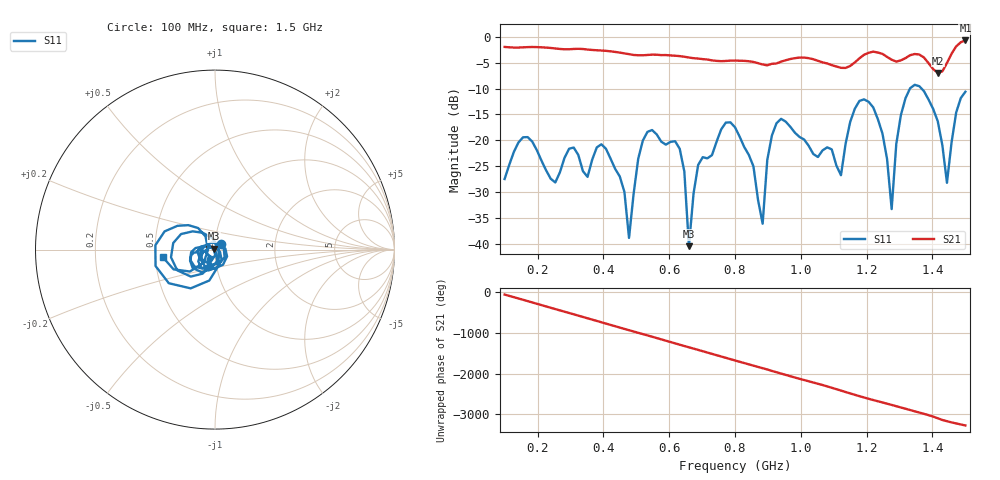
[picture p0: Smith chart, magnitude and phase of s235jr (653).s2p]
! NanoVNA-App
! Date: 2025-09-25 15:09:15
! Start: 100MHz Stop: 1,5GHz Points: 101
! S-Parameter data: F S11 S21 S12 S22
# Hz S RI R 50
!  Frequency  S11_Real  S11_Imag  S21_Real  S21_Imag  S12_Real  S12_Imag  S22_Real  S22_Imag
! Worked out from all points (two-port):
!   101 points, 100 MHz to 1.5 GHz, reference 50 ohm
!   highest |S21| = -0.71 dB at 1.5 GHz (marker M1); lowest = -7.0 dB at 1.416 GHz (marker M2)
!   |S21| within 3 dB of the highest: start of sweep to 628 MHz; 1.187 GHz to 1.258 GHz (70.53 MHz wide, 5.77 % of centre) (the widest 2 of 4)
!   lowest |S11| = -40.4 dB at 660 MHz (marker M3), VSWR 1.02, Z = 49.2 + j0.539 ohm
!   |S11| at or under -10 dB: start of sweep to 1.332 GHz; 1.367 GHz to end of sweep
!   S12 and S22 are empty: the file has one direction only
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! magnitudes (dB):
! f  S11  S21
! 100 MHz  -27.5  -2.0
! 156 MHz  -19.4  -2.0
! 338 MHz  -26.0  -2.4
! 408 MHz  -21.6  -2.7
! 478 MHz  -38.8  -3.4
! 520 MHz  -20.0  -3.6
! 576 MHz  -20.3  -3.5
! 632 MHz  -21.6  -3.7
! 660 MHz  -40.4  -4.0
! 688 MHz  -24.8  -4.2
! 800 MHz  -17.5  -4.6
! 884 MHz  -36.1  -5.4
! 926 MHz  -16.7  -5.2
! 1.038 GHz  -22.6  -4.3
! 1.122 GHz  -26.7  -6.0
! 1.206 GHz  -12.6  -3.1
! 1.276 GHz  -33.3  -4.4
! 1.29 GHz  -20.7  -4.8
! 1.332 GHz  -9.9  -3.6
! 1.416 GHz  -16.3  -7.0
! 1.444 GHz  -28.2  -5.1
! 1.5 GHz  -10.6  -0.7
